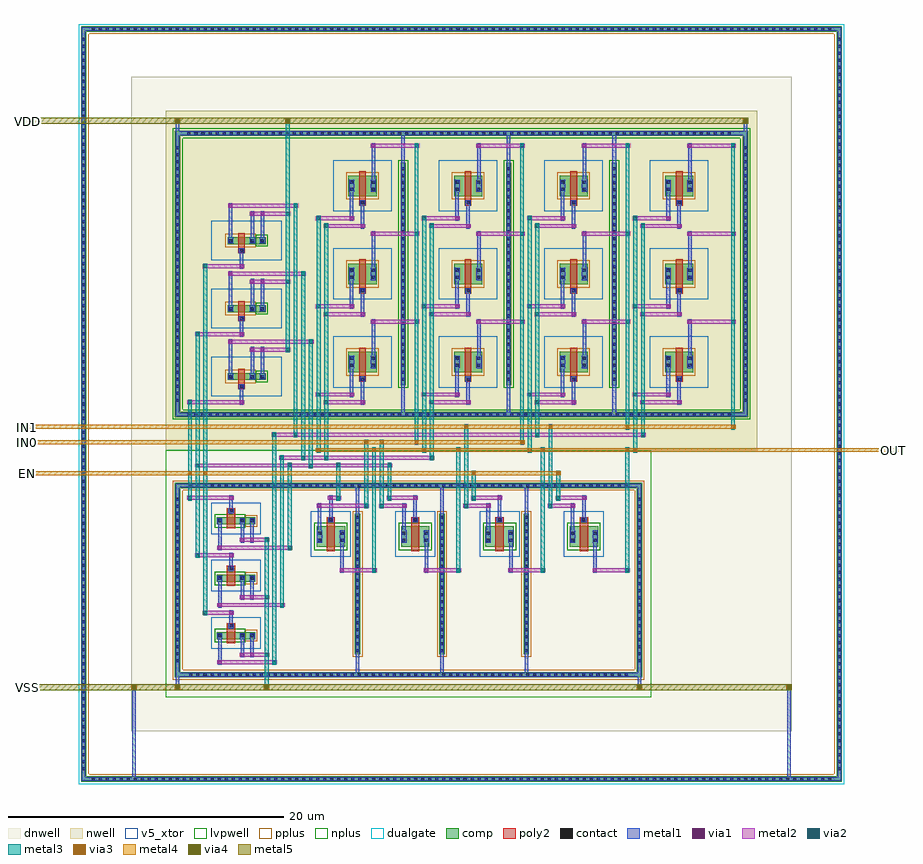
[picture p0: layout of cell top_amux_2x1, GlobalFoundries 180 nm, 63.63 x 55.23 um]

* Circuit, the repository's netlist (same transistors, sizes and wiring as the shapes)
** sch_path: /foss/designs/libs/A1_core/top_amux_2x1/top_amux_2x1.sch
.subckt top_amux_2x1 IN0 VDD OUT VSS IN1 EN
*.PININFO VDD:B VSS:B EN:I IN0:B IN1:B OUT:B
x1 VDD ENB IN0 OUT VSS test_tg
x2 VDD EN IN1 OUT VSS test_tg
x3 VDD ENB EN VSS test_inv
.ends

* expanding   symbol:  libs/core_test/test_tg/test_tg.sym # of pins=5
** sym_path: /foss/designs/libs/core_test/test_tg/test_tg.sym
** sch_path: /foss/designs/libs/core_test/test_tg/test_tg.sch
.subckt test_tg VDD EN VIN VOUT VSS
*.PININFO VIN:B VOUT:B EN:I VDD:B VSS:B
XMTG1 VIN EN VOUT VSS nfet_05v0 L=0.60u W=1.5u nf=1 m=2
XMTG2 VOUT ENB VIN VDD pfet_05v0 L=0.50u W=1.5u nf=1 m=6
x1 VDD ENB EN VSS test_inv
.ends


* expanding   symbol:  libs/core_test/test_inv/test_inv.sym # of pins=4
** sym_path: /foss/designs/libs/core_test/test_inv/test_inv.sym
** sch_path: /foss/designs/libs/core_test/test_inv/test_inv.sch
.subckt test_inv VDD OUT IN VSS
*.PININFO OUT:O IN:I VDD:B VSS:B
XM1 OUT IN VSS VSS nfet_05v0 L=0.60u W=0.50u nf=1 m=1
XM2 OUT IN VDD VDD pfet_05v0 L=0.50u W=0.50u nf=1 m=1
.ends

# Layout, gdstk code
import gdstk
lib = gdstk.Library(unit=1e-6, precision=5e-09)
def R(c, l, rs):  # rectangles x0, y0, x1, y1
    for r in rs: c.add(gdstk.rectangle(r[:2], r[2:], *l))
def A(c, l, x, y, w, h, nx, ny, dx, dy):  # array of equal rectangles
    R(c, l, [(x+i*dx, y+j*dy, x+i*dx+w, y+j*dy+h) for i in range(nx) for j in range(ny)])
def P(c, l, *ps):  # polygons
    for p in ps: c.add(gdstk.Polygon(p, *l))
dnwell = (12, 0)
nwell = (21, 0)
comp = (22, 0)
poly2 = (30, 0)
pplus = (31, 0)
nplus = (32, 0)
contact = (33, 0)
metal1 = (34, 0)
via1 = (35, 0)
metal2 = (36, 0)
via2 = (38, 0)
via3 = (40, 0)
via4 = (41, 0)
metal3 = (42, 0)
metal4 = (46, 0)
dualgate = (55, 0)
metal5 = (81, 0)
v5_xtor = (112, 1)
lvpwell = (204, 0)

nfet_2 = lib.new_cell('nfet$2')
R(nfet_2, comp, [(-0.42,0,0,1.5), (0,0,1.22,1.5), (1.22,0,1.64,1.5)])
R(nfet_2, poly2, [(0.31,-0.3,0.91,1.8), (0.31,1.8,0.91,2.16)])
R(nfet_2, nplus, [(-0.59,-0.24,1.81,1.74)])
R(nfet_2, contact, [(-0.32,0.385,-0.1,0.605), (1.32,0.385,1.54,0.605), (-0.32,0.895,-0.1,1.115), (1.32,0.895,1.54,1.115), (0.5,1.87,0.72,2.09)])
R(nfet_2, metal1, [(-0.4,0.305,-0.02,1.195), (1.24,0.305,1.62,1.195), (0.42,1.79,0.8,2.17)])
R(nfet_2, dualgate, [(-0.84,-0.71,2.06,2.58)])
R(nfet_2, v5_xtor, [(-0.84,-0.71,2.06,2.58)])

pfet_2 = lib.new_cell('pfet$2')
R(pfet_2, nwell, [(-1.07,-0.61,2.19,2.11)])
R(pfet_2, comp, [(-0.46,0,0,1.5), (0,0,1.12,1.5), (1.12,0,1.58,1.5)])
R(pfet_2, poly2, [(0.31,-0.68,0.81,-0.3), (0.31,-0.3,0.81,1.8)])
R(pfet_2, pplus, [(-0.63,-0.24,1.75,1.74)])
R(pfet_2, contact, [(0.45,-0.6,0.67,-0.38), (-0.34,0.385,-0.12,0.605), (1.24,0.385,1.46,0.605), (-0.34,0.895,-0.12,1.115), (1.24,0.895,1.46,1.115)])
R(pfet_2, metal1, [(0.37,-0.68,0.75,-0.3), (-0.42,0.305,-0.04,1.195), (1.16,0.305,1.54,1.195)])
R(pfet_2, dualgate, [(-1.57,-1.11,2.69,2.61), (-0.88,-1.09,2,2.21)])
R(pfet_2, v5_xtor, [(-1.57,-1.11,2.69,2.61), (-0.88,-1.09,2,2.21)])

pfet = lib.new_cell('pfet')
R(pfet, nwell, [(-1.15,-0.69,3,1.19)])
R(pfet, comp, [(-0.46,0,0,0.5), (0,0,1.12,0.5), (1.12,0,1.58,0.5), (1.58,0,2.31,0.5)])
R(pfet, poly2, [(0.31,-0.68,0.81,-0.3), (0.31,-0.3,0.81,0.8)])
R(pfet, pplus, [(-0.63,-0.24,1.58,0.74)])
R(pfet, nplus, [(1.58,-0.17,2.48,0.67)])
R(pfet, contact, [(0.45,-0.6,0.67,-0.38), (-0.34,0.14,-0.12,0.36), (1.24,0.14,1.46,0.36), (1.97,0.14,2.19,0.36)])
R(pfet, metal1, [(0.37,-0.68,0.75,-0.3), (-0.42,0.06,-0.04,0.44), (1.16,0.06,1.54,0.44), (1.89,0.06,2.27,0.44)])
R(pfet, dualgate, [(-1.65,-1.19,3.5,1.69)])
R(pfet, v5_xtor, [(-1.65,-1.19,3.5,1.69)])

nfet_3 = lib.new_cell('nfet$3')
R(nfet_3, comp, [(-0.42,0,0,0.5), (0,0,1.22,0.5), (1.22,0,1.64,0.5), (1.64,0,2.35,0.5)])
R(nfet_3, poly2, [(0.31,-0.3,0.91,0.8), (0.31,0.8,0.91,1.16)])
R(nfet_3, pplus, [(1.64,-0.17,2.52,0.67)])
R(nfet_3, nplus, [(-0.59,-0.24,1.64,0.74)])
R(nfet_3, contact, [(-0.32,0.14,-0.1,0.36), (1.32,0.14,1.54,0.36), (2.03,0.14,2.25,0.36), (0.5,0.87,0.72,1.09)])
R(nfet_3, metal1, [(-0.4,0.06,-0.02,0.44), (1.24,0.06,1.62,0.44), (1.95,0.06,2.33,0.44), (0.42,0.79,0.8,1.17)])
R(nfet_3, dualgate, [(-0.84,-0.71,2.77,1.58)])
R(nfet_3, v5_xtor, [(-0.84,-0.71,2.77,1.58)])

top_amux_2x1 = lib.new_cell('top_amux_2x1')
R(top_amux_2x1, dnwell, [(-146.395,-174.05,-98.405,-126.46)])
R(top_amux_2x1, nwell, [(-143.895,-153.6,-100.905,-128.96)])
A(top_amux_2x1, comp, -130.14, -168.44, 0.38, 10.21, 3, 1, 6.13, 0)
A(top_amux_2x1, comp, -126.83, -148.89, 0.38, 16.18, 3, 1, 7.67, 0)
P(top_amux_2x1, comp, [(-150.045,-177.7),(-150.045,-123.19),(-149.665,-123.19),(-149.665,-177.32),(-95.135,-177.32),(-95.135,-123.19),(-150.045,-123.19),(-150.045,-122.81),(-94.755,-122.81),(-94.755,-177.7)],
  [(-143.225,-151.21),(-143.225,-130.77),(-142.845,-130.77),(-142.845,-150.83),(-101.955,-150.83),(-101.955,-130.77),(-143.225,-130.77),(-143.225,-130.39),(-101.575,-130.39),(-101.575,-151.21)],
  [(-143.225,-170.12),(-143.225,-156.37),(-142.845,-156.37),(-142.845,-169.74),(-109.655,-169.74),(-109.655,-156.37),(-143.225,-156.37),(-143.225,-155.99),(-109.275,-155.99),(-109.275,-170.12)])
A(top_amux_2x1, pplus, -130.31, -168.61, 0.72, 10.55, 3, 1, 6.13, 0)
P(top_amux_2x1, pplus, [(-150.215,-177.87),(-150.215,-123.36),(-149.495,-123.36),(-149.495,-177.15),(-95.305,-177.15),(-95.305,-123.36),(-150.215,-123.36),(-150.215,-122.64),(-94.585,-122.64),(-94.585,-177.87)],
  [(-143.395,-170.29),(-143.395,-156.54),(-142.675,-156.54),(-142.675,-169.57),(-109.825,-169.57),(-109.825,-156.54),(-143.395,-156.54),(-143.395,-155.82),(-109.105,-155.82),(-109.105,-170.29)])
A(top_amux_2x1, nplus, -127, -149.06, 0.72, 16.52, 3, 1, 7.67, 0)
P(top_amux_2x1, nplus, [(-143.395,-151.38),(-143.395,-130.94),(-142.675,-130.94),(-142.675,-150.66),(-102.125,-150.66),(-102.125,-130.94),(-143.395,-130.94),(-143.395,-130.22),(-101.405,-130.22),(-101.405,-151.38)])
A(top_amux_2x1, contact, -149.285, -177.62, 0.22, 0.22, 106, 2, 0.51, 54.51)
A(top_amux_2x1, contact, -149.965, -176.885, 0.22, 0.22, 1, 105, 0, 0.51)
A(top_amux_2x1, contact, -95.055, -176.885, 0.22, 0.22, 1, 105, 0, 0.51)
A(top_amux_2x1, contact, -142.17, -170.04, 0.22, 0.22, 63, 2, 0.51, 13.75)
A(top_amux_2x1, contact, -143.145, -169.03, 0.22, 0.22, 1, 24, 0, 0.51)
A(top_amux_2x1, contact, -109.575, -169.03, 0.22, 0.22, 1, 24, 0, 0.51)
A(top_amux_2x1, contact, -130.06, -168.29, 0.22, 0.22, 3, 20, 6.13, 0.51)
A(top_amux_2x1, contact, -142.315, -151.13, 0.22, 0.22, 78, 2, 0.51, 20.44)
A(top_amux_2x1, contact, -143.145, -150.09, 0.22, 0.22, 1, 37, 0, 0.51)
A(top_amux_2x1, contact, -101.875, -150.09, 0.22, 0.22, 1, 37, 0, 0.51)
A(top_amux_2x1, contact, -126.75, -148.56, 0.22, 0.22, 3, 31, 7.67, 0.51)
A(top_amux_2x1, metal1, -130.08, -170.06, 0.26, 14.01, 3, 1, 6.13, 0)
A(top_amux_2x1, metal1, -140.095, -169.22, 0.26, 2.22, 1, 3, 0, 4.17)
A(top_amux_2x1, metal1, -138.455, -168.66, 0.26, 1.66, 1, 3, 0, 4.17)
A(top_amux_2x1, metal1, -137.745, -168.66, 0.26, 1.66, 1, 3, 0, 4.17)
A(top_amux_2x1, metal1, -139.275, -166.57, 0.26, 1.34, 1, 3, 0, 4.17)
A(top_amux_2x1, metal1, -131.205, -162.52, 0.26, 3.015, 4, 1, 6.13, 0)
A(top_amux_2x1, metal1, -132.845, -160.275, 0.26, 2.825, 4, 1, 6.13, 0)
A(top_amux_2x1, metal1, -132.025, -158.79, 0.26, 1.9, 4, 1, 6.13, 0)
A(top_amux_2x1, metal1, -126.77, -151.15, 0.26, 20.7, 3, 1, 7.67, 0)
A(top_amux_2x1, metal1, -138.515, -150.31, 0.26, 1.44, 1, 3, 0, 4.94)
A(top_amux_2x1, metal1, -129.725, -150.31, 0.26, 2, 4, 3, 7.67, 6.4)
A(top_amux_2x1, metal1, -130.515, -149.75, 0.26, 2.935, 4, 3, 7.67, 6.4)
A(top_amux_2x1, metal1, -139.305, -148.34, 0.26, 2.79, 1, 3, 0, 4.94)
A(top_amux_2x1, metal1, -137.725, -148.34, 0.26, 2.23, 1, 3, 0, 4.94)
A(top_amux_2x1, metal1, -136.995, -148.34, 0.26, 2.23, 1, 3, 0, 4.94)
A(top_amux_2x1, metal1, -128.935, -147.585, 0.26, 3.495, 4, 3, 7.67, 6.4)
P(top_amux_2x1, metal1, [(-149.985,-177.64),(-149.985,-123.13),(-149.725,-123.13),(-149.725,-177.38),(-146.335,-177.38),(-146.335,-170.64),(-146.075,-170.64),(-146.075,-177.38),(-98.725,-177.38),(-98.725,-170.64),(-98.465,-170.64),(-98.465,-177.38),(-95.075,-177.38),(-95.075,-123.13),(-149.985,-123.13),(-149.985,-122.87),(-94.815,-122.87),(-94.815,-177.64)],
  [(-143.165,-151.15),(-143.165,-130.71),(-142.905,-130.71),(-142.905,-150.89),(-101.895,-150.89),(-101.895,-130.71),(-143.165,-130.71),(-143.165,-129.49),(-142.905,-129.49),(-142.905,-130.45),(-101.895,-130.45),(-101.895,-129.49),(-101.635,-129.49),(-101.635,-151.15)],
  [(-143.165,-171.02),(-143.165,-156.31),(-142.905,-156.31),(-142.905,-169.8),(-109.595,-169.8),(-109.595,-156.31),(-143.165,-156.31),(-143.165,-156.05),(-109.335,-156.05),(-109.335,-171.02),(-109.595,-171.02),(-109.595,-170.06),(-142.905,-170.06),(-142.905,-171.02)])
A(top_amux_2x1, via1, -140.095, -169.16, 0.26, 0.26, 1, 3, 0, 4.17)
A(top_amux_2x1, via1, -138.455, -168.6, 0.26, 0.26, 1, 3, 0, 4.17)
A(top_amux_2x1, via1, -137.745, -168.6, 0.26, 0.26, 1, 3, 0, 4.17)
A(top_amux_2x1, via1, -139.275, -165.55, 0.26, 0.26, 1, 3, 0, 4.17)
A(top_amux_2x1, via1, -131.205, -162.46, 0.26, 0.26, 4, 1, 6.13, 0)
A(top_amux_2x1, via1, -132.845, -157.77, 0.26, 0.26, 4, 1, 6.13, 0)
A(top_amux_2x1, via1, -132.025, -157.21, 0.26, 0.26, 4, 1, 6.13, 0)
A(top_amux_2x1, via1, -138.515, -150.25, 0.26, 0.26, 1, 3, 0, 4.94)
A(top_amux_2x1, via1, -129.725, -150.25, 0.26, 0.26, 4, 3, 7.67, 6.4)
A(top_amux_2x1, via1, -130.515, -149.69, 0.26, 0.26, 4, 3, 7.67, 6.4)
A(top_amux_2x1, via1, -137.725, -146.43, 0.26, 0.26, 1, 3, 0, 4.94)
A(top_amux_2x1, via1, -136.995, -146.43, 0.26, 0.26, 1, 3, 0, 4.94)
A(top_amux_2x1, via1, -139.305, -145.87, 0.26, 0.26, 1, 3, 0, 4.94)
A(top_amux_2x1, via1, -128.935, -144.41, 0.26, 0.26, 4, 3, 7.67, 6.4)
R(top_amux_2x1, via1, [(-146.335,-170.96,-146.075,-170.7), (-143.165,-170.96,-142.905,-170.7), (-109.595,-170.96,-109.335,-170.7), (-98.725,-170.96,-98.465,-170.7), (-143.165,-129.81,-142.905,-129.55), (-101.895,-129.81,-101.635,-129.55)])
A(top_amux_2x1, metal2, -138.515, -168.61, 2.14, 0.28, 1, 3, 0, 4.17)
A(top_amux_2x1, metal2, -131.265, -162.47, 2.7, 0.28, 4, 1, 6.13, 0)
A(top_amux_2x1, metal2, -128.385, -157.78, 1.99, 0.28, 3, 1, 6.13, 0)
A(top_amux_2x1, metal2, -127.825, -157.22, 2.25, 0.28, 3, 1, 6.13, 0)
A(top_amux_2x1, metal2, -132.415, -150.26, 3.01, 0.28, 4, 3, 7.67, 6.4)
A(top_amux_2x1, metal2, -132.975, -149.7, 2.78, 0.28, 4, 3, 7.67, 6.4)
A(top_amux_2x1, metal2, -137.785, -146.44, 2.95, 0.28, 1, 3, 0, 4.94)
A(top_amux_2x1, metal2, -128.995, -144.42, 3.51, 0.28, 4, 3, 7.67, 6.4)
R(top_amux_2x1, metal2, [(-146.395,-171.02,-146.015,-170.64), (-143.225,-171.02,-142.845,-170.64), (-109.655,-171.02,-109.275,-170.64), (-98.785,-171.02,-98.405,-170.64), (-140.155,-169.17,-135.815,-168.89), (-141.205,-165.56,-138.955,-165.28), (-140.155,-165,-135.255,-164.72), (-141.765,-161.39,-138.955,-161.11), (-140.155,-160.83,-134.695,-160.55), (-132.905,-157.78,-129.125,-157.5), (-142.325,-157.22,-138.955,-156.94), (-132.12,-157.22,-131.155,-156.94), (-141.765,-154.86,-127.445,-154.58), (-135.635,-154.3,-124.365,-154.02), (-136.195,-152.62,-109.025,-152.34), (-142.325,-150.26,-138.195,-149.98), (-139.365,-145.88,-133.155,-145.6), (-141.765,-145.32,-138.195,-145.04), (-139.365,-140.94,-133.715,-140.66), (-141.205,-140.38,-138.195,-140.1), (-139.365,-136,-134.275,-135.72), (-143.225,-129.87,-142.845,-129.49), (-101.955,-129.87,-101.575,-129.49)])
A(top_amux_2x1, via2, -136.695, -168.6, 0.26, 0.26, 1, 3, 0, 4.17)
A(top_amux_2x1, via2, -128.885, -162.46, 0.26, 0.26, 4, 1, 6.13, 0)
A(top_amux_2x1, via2, -128.325, -157.77, 0.26, 0.26, 3, 1, 6.13, 0)
A(top_amux_2x1, via2, -127.765, -157.21, 0.26, 0.26, 3, 1, 6.13, 0)
A(top_amux_2x1, via2, -132.355, -150.25, 0.26, 0.26, 4, 3, 7.67, 6.4)
A(top_amux_2x1, via2, -132.915, -149.69, 0.26, 0.26, 4, 3, 7.67, 6.4)
A(top_amux_2x1, via2, -135.155, -146.43, 0.26, 0.26, 1, 3, 0, 4.94)
A(top_amux_2x1, via2, -125.805, -144.41, 0.26, 0.26, 4, 3, 7.67, 6.4)
R(top_amux_2x1, via2, [(-146.335,-170.96,-146.075,-170.7), (-143.165,-170.96,-142.905,-170.7), (-109.595,-170.96,-109.335,-170.7), (-98.725,-170.96,-98.465,-170.7), (-136.135,-169.16,-135.875,-168.9), (-141.145,-165.55,-140.885,-165.29), (-135.575,-164.99,-135.315,-164.73), (-141.705,-161.38,-141.445,-161.12), (-135.015,-160.82,-134.755,-160.56), (-129.445,-157.77,-129.185,-157.51), (-142.265,-157.21,-142.005,-156.95), (-131.475,-157.21,-131.215,-156.95), (-141.705,-154.85,-141.445,-154.59), (-135.015,-154.85,-134.755,-154.59), (-133.475,-154.85,-133.215,-154.59), (-131.475,-154.85,-131.215,-154.59), (-127.765,-154.85,-127.505,-154.59), (-135.575,-154.29,-135.315,-154.03), (-134.035,-154.29,-133.775,-154.03), (-132.355,-154.29,-132.095,-154.03), (-124.685,-154.29,-124.425,-154.03), (-136.135,-152.61,-135.875,-152.35), (-134.595,-152.61,-134.335,-152.35), (-117.015,-152.61,-116.755,-152.35), (-109.345,-152.61,-109.085,-152.35), (-142.265,-150.25,-142.005,-149.99), (-133.475,-145.87,-133.215,-145.61), (-141.705,-145.31,-141.445,-145.05), (-134.035,-140.93,-133.775,-140.67), (-141.145,-140.37,-140.885,-140.11), (-134.595,-135.99,-134.335,-135.73), (-143.165,-129.81,-142.905,-129.55), (-101.895,-129.81,-101.635,-129.55)])
R(top_amux_2x1, via3, [(-146.335,-170.96,-146.075,-170.7), (-143.165,-170.96,-142.905,-170.7), (-136.695,-170.96,-136.435,-170.7), (-109.595,-170.96,-109.335,-170.7), (-98.725,-170.96,-98.465,-170.7), (-142.265,-155.41,-142.005,-155.15), (-141.145,-155.41,-140.885,-155.15), (-121.635,-155.41,-121.375,-155.15), (-115.505,-155.41,-115.245,-155.15), (-132.915,-153.73,-132.655,-153.47), (-128.885,-153.73,-128.625,-153.47), (-125.245,-153.73,-124.985,-153.47), (-122.755,-153.73,-122.495,-153.47), (-117.575,-153.73,-117.315,-153.47), (-116.625,-153.73,-116.365,-153.47), (-110.495,-153.73,-110.235,-153.47), (-109.905,-153.73,-109.645,-153.47), (-129.445,-153.17,-129.185,-152.91), (-128.325,-153.17,-128.065,-152.91), (-125.805,-153.17,-125.545,-152.91), (-118.135,-153.17,-117.875,-152.91), (-122.195,-152.05,-121.935,-151.79), (-116.065,-152.05,-115.805,-151.79), (-110.465,-152.05,-110.205,-151.79), (-102.795,-152.05,-102.535,-151.79), (-143.165,-129.81,-142.905,-129.55), (-135.155,-129.81,-134.895,-129.55), (-101.895,-129.81,-101.635,-129.55)])
R(top_amux_2x1, via4, [(-146.335,-170.96,-146.075,-170.7), (-143.165,-170.96,-142.905,-170.7), (-136.695,-170.96,-136.435,-170.7), (-109.595,-170.96,-109.335,-170.7), (-98.725,-170.96,-98.465,-170.7), (-143.165,-129.81,-142.905,-129.55), (-135.155,-129.81,-134.895,-129.55), (-101.895,-129.81,-101.635,-129.55)])
A(top_amux_2x1, metal3, -128.895, -162.52, 0.28, 9.11, 4, 1, 6.13, 0)
A(top_amux_2x1, metal3, -132.925, -153.79, 0.28, 17.22, 4, 1, 7.67, 0)
R(top_amux_2x1, metal3, [(-146.395,-171.02,-146.015,-170.64), (-143.225,-171.02,-142.845,-170.64), (-136.705,-171.02,-136.425,-159.94), (-109.655,-171.02,-109.275,-170.64), (-98.785,-171.02,-98.405,-170.64), (-136.145,-169.22,-135.865,-152.29), (-141.155,-165.61,-140.875,-140.05), (-135.585,-165.05,-135.305,-153.97), (-141.715,-161.44,-141.435,-144.99), (-135.025,-160.88,-134.745,-154.53), (-129.455,-157.83,-129.175,-152.85), (-128.335,-157.83,-128.055,-152.85), (-122.205,-157.83,-121.925,-151.73), (-116.075,-157.83,-115.795,-151.73), (-142.275,-157.27,-141.995,-149.93), (-131.485,-157.27,-131.205,-154.53), (-127.775,-157.27,-127.495,-154.53), (-121.645,-157.27,-121.365,-155.09), (-115.515,-157.27,-115.235,-155.09), (-133.485,-154.91,-133.205,-145.55), (-134.045,-154.35,-133.765,-140.61), (-132.365,-154.35,-132.085,-137.13), (-124.695,-154.35,-124.415,-137.13), (-125.815,-153.23,-125.535,-131.29), (-118.145,-153.23,-117.865,-131.29), (-134.605,-152.67,-134.325,-135.67), (-117.025,-152.67,-116.745,-137.13), (-109.355,-152.67,-109.075,-137.13), (-110.475,-152.11,-110.195,-131.29), (-102.805,-152.11,-102.525,-131.29), (-135.165,-146.49,-134.885,-129.49), (-143.225,-129.87,-142.845,-129.49), (-101.955,-129.87,-101.575,-129.49)])
R(top_amux_2x1, metal4, [(-146.395,-171.02,-146.015,-170.64), (-143.225,-171.02,-142.845,-170.64), (-136.755,-171.02,-136.375,-170.64), (-109.655,-171.02,-109.275,-170.64), (-98.785,-171.02,-98.405,-170.64), (-154.215,-155.42,-115.185,-155.14), (-132.975,-153.74,-90.585,-153.46), (-154.215,-153.18,-117.815,-152.9), (-154.215,-152.06,-102.475,-151.78), (-143.225,-129.87,-142.845,-129.49), (-135.215,-129.87,-134.835,-129.49), (-101.955,-129.87,-101.575,-129.49)])
R(top_amux_2x1, dualgate, [(-150.215,-177.87,-94.585,-122.64), (-146.395,-174.05,-98.405,-126.46)])
R(top_amux_2x1, metal5, [(-154.215,-171.05,-98.405,-170.61), (-154.215,-129.9,-101.575,-129.46)])
R(top_amux_2x1, lvpwell, [(-143.895,-171.55,-108.605,-153.6)])
r = gdstk.Reference(nfet_2, (-132.505,-160.64)); r.repetition = gdstk.Repetition(4, 1, v1=(6.13,0), v2=(0,0)); top_amux_2x1.add(r)
r = gdstk.Reference(pfet_2, (-130.155,-147.95)); r.repetition = gdstk.Repetition(4, 3, v1=(7.67,0), v2=(0,6.4)); top_amux_2x1.add(r)
r = gdstk.Reference(pfet, (-138.945,-148.51)); r.repetition = gdstk.Repetition(1, 3, v1=(0,0), v2=(0,4.94)); top_amux_2x1.add(r)
r = gdstk.Reference(nfet_3, (-139.755,-167.34)); r.repetition = gdstk.Repetition(1, 3, v1=(0,0), v2=(0,4.17)); top_amux_2x1.add(r)
top_amux_2x1.add(gdstk.Label('VDD', (-153.905,-129.69), layer=81, texttype=10))
top_amux_2x1.add(gdstk.Label('VSS', (-153.95,-170.875), layer=81, texttype=10))
top_amux_2x1.add(gdstk.Label('EN', (-153.925,-155.295), layer=46, texttype=10))
top_amux_2x1.add(gdstk.Label('IN0', (-153.975,-153.065), layer=46, texttype=10))
top_amux_2x1.add(gdstk.Label('IN1', (-153.94,-151.94), layer=46, texttype=10))
top_amux_2x1.add(gdstk.Label('OUT', (-91,-153.66), layer=46, texttype=10))

lib.write_gds('top_amux_2x1.gds')
